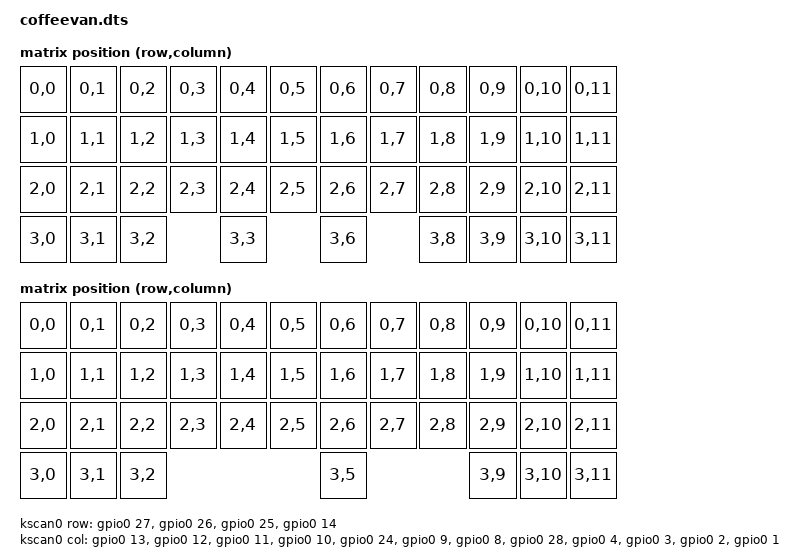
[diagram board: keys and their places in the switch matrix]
/*
 * Copyright (c) 2024 The ZMK Contributors
 * SPDX-License-Identifier: MIT
 */

/dts-v1/;

#include <rpi_pico/rp2040.dtsi>
#include <dt-bindings/zmk/matrix_transform.h>

#include "coffeevan-layouts.dtsi"

&layout_coffeevan_split_spacebar {
    transform = <&split_spacebar_transform>;
};

&layout_coffeevan_big_bar {
    transform = <&big_bar_transform>;
};

/ {
    chosen {
        zephyr,sram = &sram0;
        zephyr,flash = &flash0;
        zephyr,flash-controller = &ssi;
        zephyr,code-partition = &code_partition;
        zmk,kscan = &kscan0;
        zmk,physical-layout = &layout_coffeevan_split_spacebar;
    };

    xtal_clk: xtal-clk {
        compatible = "fixed-clock";
        clock-frequency = <12000000>;
        #clock-cells = <0>;
    };

    split_spacebar_transform: keymap_transform_0 {
        compatible = "zmk,matrix-transform";
        columns = <12>;
        rows = <4>;

        map = <
RC(0,0) RC(0,1) RC(0,2) RC(0,3) RC(0,4) RC(0,5) RC(0,6) RC(0,7) RC(0,8) RC(0,9) RC(0,10) RC(0,11)
RC(1,0) RC(1,1) RC(1,2) RC(1,3) RC(1,4) RC(1,5) RC(1,6) RC(1,7) RC(1,8) RC(1,9) RC(1,10) RC(1,11)
RC(2,0) RC(2,1) RC(2,2) RC(2,3) RC(2,4) RC(2,5) RC(2,6) RC(2,7) RC(2,8) RC(2,9) RC(2,10) RC(2,11)
RC(3,0) RC(3,1) RC(3,2)        RC(3,3)          RC(3,6)         RC(3,8) RC(3,9) RC(3,10) RC(3,11)
        >;
    };

    big_bar_transform: keymap_transform_1 {
        compatible = "zmk,matrix-transform";
        columns = <12>;
        rows = <4>;

        map = <
RC(0,0) RC(0,1) RC(0,2) RC(0,3) RC(0,4) RC(0,5) RC(0,6) RC(0,7) RC(0,8) RC(0,9) RC(0,10) RC(0,11)
RC(1,0) RC(1,1) RC(1,2) RC(1,3) RC(1,4) RC(1,5) RC(1,6) RC(1,7) RC(1,8) RC(1,9) RC(1,10) RC(1,11)
RC(2,0) RC(2,1) RC(2,2) RC(2,3) RC(2,4) RC(2,5) RC(2,6) RC(2,7) RC(2,8) RC(2,9) RC(2,10) RC(2,11)
RC(3,0) RC(3,1) RC(3,2)                         RC(3,5)                 RC(3,9) RC(3,10) RC(3,11)
        >;
    };

    kscan0: kscan {
        compatible = "zmk,kscan-gpio-matrix";

        diode-direction = "col2row";
        row-gpios
            = <&gpio0 27 (GPIO_ACTIVE_HIGH | GPIO_PULL_DOWN)>
            , <&gpio0 26 (GPIO_ACTIVE_HIGH | GPIO_PULL_DOWN)>
            , <&gpio0 25 (GPIO_ACTIVE_HIGH | GPIO_PULL_DOWN)>
            , <&gpio0 14 (GPIO_ACTIVE_HIGH | GPIO_PULL_DOWN)>
            ;
        col-gpios
            = <&gpio0 13 GPIO_ACTIVE_HIGH>
            , <&gpio0 12 GPIO_ACTIVE_HIGH>
            , <&gpio0 11 GPIO_ACTIVE_HIGH>
            , <&gpio0 10 GPIO_ACTIVE_HIGH>
            , <&gpio0 24 GPIO_ACTIVE_HIGH>
            , <&gpio0 9 GPIO_ACTIVE_HIGH>
            , <&gpio0 8 GPIO_ACTIVE_HIGH>
            , <&gpio0 28 GPIO_ACTIVE_HIGH>
            , <&gpio0 4 GPIO_ACTIVE_HIGH>
            , <&gpio0 3 GPIO_ACTIVE_HIGH>
            , <&gpio0 2 GPIO_ACTIVE_HIGH>
            , <&gpio0 1 GPIO_ACTIVE_HIGH>
            ;
    };
};

&flash0 {
    reg = <0x10000000 DT_SIZE_M(16)>;

    partitions {
        compatible = "fixed-partitions";
        #address-cells = <1>;
        #size-cells = <1>;

        /* Reserved memory for the second stage bootloader */
        second_stage_bootloader: partition@0 {
            reg = <0x00000000 0x100>;
            read-only;
        };

        /*
         * Usable flash. Starts at 0x100, after the bootloader. The partition
         * size is 16MB minus the 0x100 bytes taken by the bootloader.
         */
        code_partition: partition@100 {
            reg = <0x100 (DT_SIZE_M(16) - 0x100 - DT_SIZE_K(512))>;
            read-only;
        };

        storage_partition: partition@f80000 {
            reg = <0xf80000 DT_SIZE_K(512)>;
            read-only;
        };
    };
};


zephyr_udc0: &usbd {
  status = "okay";
};


&gpio0 {
    status = "okay";
};

